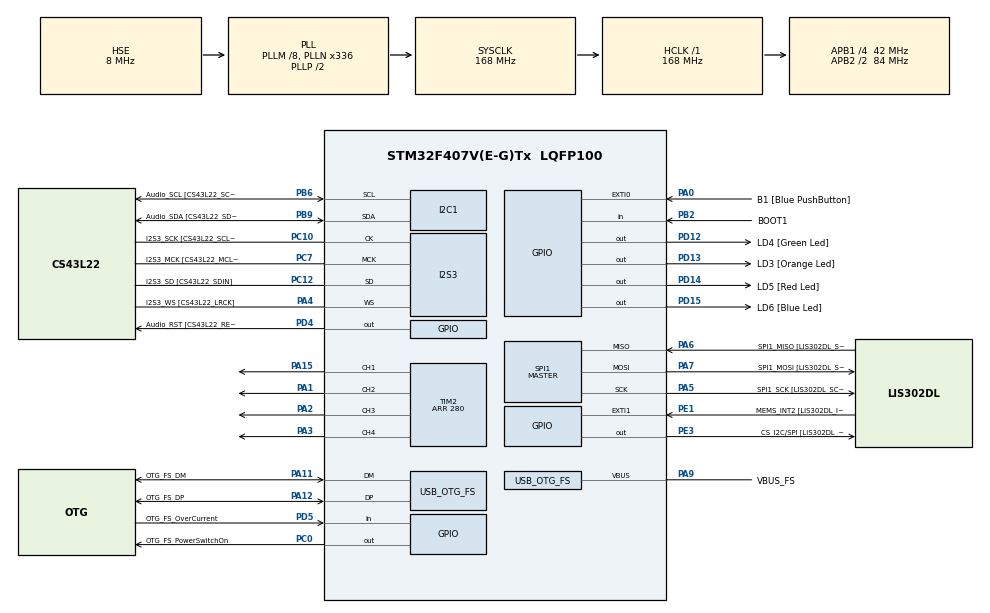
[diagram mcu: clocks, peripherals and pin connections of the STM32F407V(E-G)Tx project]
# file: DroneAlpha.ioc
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Dma.Request0=TIM2_CH1
Dma.TIM2_CH1.0.Direction=DMA_MEMORY_TO_PERIPH
Dma.TIM2_CH1.0.FIFOMode=DMA_FIFOMODE_DISABLE
Dma.TIM2_CH1.0.Instance=DMA1_Stream5
Dma.TIM2_CH1.0.MemDataAlignment=DMA_MDATAALIGN_HALFWORD
Dma.TIM2_CH1.0.MemInc=DMA_MINC_ENABLE
Dma.TIM2_CH1.0.Mode=DMA_NORMAL
Dma.TIM2_CH1.0.PeriphDataAlignment=DMA_PDATAALIGN_HALFWORD
Dma.TIM2_CH1.0.PeriphInc=DMA_PINC_DISABLE
Dma.TIM2_CH1.0.Priority=DMA_PRIORITY_HIGH
FREERTOS.Tasks01=mainTask,-2,128,StartDefaultTask,Default,NULL,Dynamic,NULL,NULL;flightControlTa,1,128,StartTask02,Default,NULL,Dynamic,NULL,NULL;sensorTask,0,128,StartTask03,Default,NULL,Dynamic,NULL,NULL
FREERTOS.configUSE_NEWLIB_REENTRANT=1
I2S3.AudioFreq-Half_Duplex_Master=I2S_AUDIOFREQ_96K
I2S3.ErrorAudioFreq=-2.34 %
I2S3.ErrorAudioFreq-Half_Duplex_Master=0.8 %
I2S3.FullDuplexMode=I2S_FULLDUPLEXMODE_DISABLE
I2S3.Instance=SPI$Index
I2S3.RealAudioFreq=93.75 KHz
I2S3.RealAudioFreq-Half_Duplex_Master=96.774 KHz
I2S3.VirtualMode=I2S_MODE_MASTER
Mcu.Family=STM32F4
Mcu.Name=STM32F407V(E-G)Tx
Mcu.Package=LQFP100
NVIC.DMA1_Stream5_IRQn=true\:5\:0\:false\:true\:true\:2\:true\:false\:true\:true
NVIC.OTG_FS_IRQn=true\:5\:0\:false\:true\:true\:1\:true\:true\:true\:true
NVIC.PriorityGroup=NVIC_PRIORITYGROUP_4
NVIC.TIM1_UP_TIM10_IRQn=true\:15\:0\:false\:false\:true\:false\:false\:true\:true
NVIC.TimeBase=TIM1_UP_TIM10_IRQn
NVIC.TimeBaseIP=TIM1
PA0-WKUP.GPIO_Label=B1 [Blue PushButton]
PA0-WKUP.GPIO_ModeDefaultEXTI=GPIO_MODE_EVT_RISING
PA0-WKUP.GPIO_PuPd=GPIO_NOPULL
PA0-WKUP.Signal=GPXTI0
PA1.Signal=S_TIM2_CH2
PA10.GPIO_Label=OTG_FS_ID
PA10.GPIO_Mode=GPIO_MODE_AF_PP
PA10.GPIO_PuPd=GPIO_NOPULL
PA10.GPIO_Speed=GPIO_SPEED_FREQ_LOW
PA10.Signal=USB_OTG_FS_ID
PA11.GPIO_Label=OTG_FS_DM
PA11.GPIO_Mode=GPIO_MODE_AF_PP
PA11.GPIO_PuPd=GPIO_NOPULL
PA11.GPIO_Speed=GPIO_SPEED_FREQ_LOW
PA11.Mode=Host_Only
PA11.Signal=USB_OTG_FS_DM
PA12.GPIO_Label=OTG_FS_DP
PA12.GPIO_Mode=GPIO_MODE_AF_PP
PA12.GPIO_PuPd=GPIO_NOPULL
PA12.GPIO_Speed=GPIO_SPEED_FREQ_LOW
PA12.Mode=Host_Only
PA12.Signal=USB_OTG_FS_DP
PA13.GPIO_Label=SWDIO
PA13.Mode=Serial_Wire
PA13.Signal=SYS_JTMS-SWDIO
PA14.GPIO_Label=SWCLK
PA14.Mode=Serial_Wire
PA14.Signal=SYS_JTCK-SWCLK
PA15.Signal=S_TIM2_CH1_ETR
PA2.Signal=S_TIM2_CH3
PA3.Signal=S_TIM2_CH4
PA4.GPIO_Label=I2S3_WS [CS43L22_LRCK]
PA4.GPIO_Mode=GPIO_MODE_AF_PP
PA4.GPIO_PuPd=GPIO_NOPULL
PA4.GPIO_Speed=GPIO_SPEED_FREQ_LOW
PA4.Mode=Half_Duplex_Master
PA4.Signal=I2S3_WS
PA5.GPIO_Label=SPI1_SCK [LIS302DL_SCL/SPC]
PA5.GPIO_Mode=GPIO_MODE_AF_PP
PA5.GPIO_PuPd=GPIO_NOPULL
PA5.GPIO_Speed=GPIO_SPEED_FREQ_LOW
PA5.Mode=Full_Duplex_Master
PA5.Signal=SPI1_SCK
PA6.GPIO_Label=SPI1_MISO [LIS302DL_SDO]
PA6.GPIO_Mode=GPIO_MODE_AF_PP
PA6.GPIO_PuPd=GPIO_NOPULL
PA6.GPIO_Speed=GPIO_SPEED_FREQ_LOW
PA6.Mode=Full_Duplex_Master
PA6.Signal=SPI1_MISO
PA7.GPIO_Label=SPI1_MOSI [LIS302DL_SDA/SDI/SDO]
PA7.GPIO_Mode=GPIO_MODE_AF_PP
PA7.GPIO_PuPd=GPIO_NOPULL
PA7.GPIO_Speed=GPIO_SPEED_FREQ_LOW
PA7.Mode=Full_Duplex_Master
PA7.Signal=SPI1_MOSI
PA9.GPIO_Label=VBUS_FS
PA9.GPIO_Mode=GPIO_MODE_INPUT
PA9.GPIO_PuPd=GPIO_NOPULL
PA9.Mode=Activate_VBUS
PA9.Signal=USB_OTG_FS_VBUS
PB10.GPIO_Label=CLK_IN [MP45DT02_CLK]
PB10.GPIO_Mode=GPIO_MODE_AF_PP
PB10.GPIO_PuPd=GPIO_NOPULL
PB10.GPIO_Speed=GPIO_SPEED_FREQ_LOW
PB10.Signal=I2S2_CK
PB2.GPIO_Label=BOOT1
PB2.GPIO_Mode=GPIO_MODE_INPUT
PB2.GPIO_PuPd=GPIO_NOPULL
PB2.Signal=GPIO_Input
PB3.GPIO_Label=SWO
PB3.Signal=SYS_JTDO-SWO
PB6.GPIO_Label=Audio_SCL [CS43L22_SCL]
PB6.GPIO_Mode=GPIO_MODE_AF_OD
PB6.GPIO_Pu=GPIO_PULLUP
PB6.GPIO_PuPd=GPIO_NOPULL
PB6.GPIO_Speed=GPIO_SPEED_FREQ_LOW
PB6.Mode=I2C
PB6.Signal=I2C1_SCL
PB9.GPIO_Label=Audio_SDA [CS43L22_SDA]
PB9.GPIO_Mode=GPIO_MODE_AF_OD
PB9.GPIO_Pu=GPIO_PULLUP
PB9.GPIO_PuPd=GPIO_NOPULL
PB9.GPIO_Speed=GPIO_SPEED_FREQ_LOW
PB9.Mode=I2C
PB9.Signal=I2C1_SDA
PC0.GPIO_Label=OTG_FS_PowerSwitchOn
PC0.GPIO_PuPd=GPIO_NOPULL
PC0.GPIO_Speed=GPIO_SPEED_FREQ_LOW
PC0.PinState=GPIO_PIN_SET
PC0.Signal=GPIO_Output
PC10.GPIO_Label=I2S3_SCK [CS43L22_SCLK]
PC10.GPIO_Mode=GPIO_MODE_AF_PP
PC10.GPIO_PuPd=GPIO_NOPULL
PC10.GPIO_Speed=GPIO_SPEED_FREQ_LOW
PC10.Mode=Half_Duplex_Master
PC10.Signal=I2S3_CK
PC12.GPIO_Label=I2S3_SD [CS43L22_SDIN]
PC12.GPIO_Mode=GPIO_MODE_AF_PP
PC12.GPIO_PuPd=GPIO_NOPULL
PC12.GPIO_Speed=GPIO_SPEED_FREQ_LOW
PC12.Mode=Half_Duplex_Master
PC12.Signal=I2S3_SD
PC14-OSC32_IN.GPIO_Label=PC14-OSC32_IN
PC14-OSC32_IN.Mode=LSE-External-Oscillator
PC14-OSC32_IN.Signal=RCC_OSC32_IN
PC15-OSC32_OUT.GPIO_Label=PC15-OSC32_OUT
PC15-OSC32_OUT.Mode=LSE-External-Oscillator
PC15-OSC32_OUT.Signal=RCC_OSC32_OUT
PC3.GPIO_Label=PDM_OUT [MP45DT02_DOUT]
PC3.GPIO_Mode=GPIO_MODE_AF_PP
PC3.GPIO_PuPd=GPIO_NOPULL
PC3.GPIO_Speed=GPIO_SPEED_FREQ_LOW
PC3.Signal=I2S2_SD
PC7.GPIO_Label=I2S3_MCK [CS43L22_MCLK]
PC7.GPIO_Mode=GPIO_MODE_AF_PP
PC7.GPIO_PuPd=GPIO_NOPULL
PC7.GPIO_Speed=GPIO_SPEED_FREQ_LOW
PC7.Mode=Master_Clock_Activated
PC7.Signal=I2S3_MCK
PD12.GPIO_Label=LD4 [Green Led]
PD12.GPIO_PuPd=GPIO_NOPULL
PD12.GPIO_Speed=GPIO_SPEED_FREQ_LOW
PD12.Signal=GPIO_Output
PD13.GPIO_Label=LD3 [Orange Led]
PD13.GPIO_PuPd=GPIO_NOPULL
PD13.GPIO_Speed=GPIO_SPEED_FREQ_LOW
PD13.Signal=GPIO_Output
PD14.GPIO_Label=LD5 [Red Led]
PD14.GPIO_PuPd=GPIO_NOPULL
PD14.GPIO_Speed=GPIO_SPEED_FREQ_LOW
PD14.Signal=GPIO_Output
PD15.GPIO_Label=LD6 [Blue Led]
PD15.GPIO_PuPd=GPIO_NOPULL
PD15.GPIO_Speed=GPIO_SPEED_FREQ_LOW
PD15.Signal=GPIO_Output
PD4.GPIO_Label=Audio_RST [CS43L22_RESET]
PD4.GPIO_PuPd=GPIO_NOPULL
PD4.GPIO_Speed=GPIO_SPEED_FREQ_LOW
PD4.Signal=GPIO_Output
PD5.GPIO_Label=OTG_FS_OverCurrent
PD5.GPIO_Mode=GPIO_MODE_INPUT
PD5.GPIO_PuPd=GPIO_NOPULL
PD5.Signal=GPIO_Input
PE1.GPIO_Label=MEMS_INT2 [LIS302DL_INT2]
PE1.GPIO_ModeDefaultEXTI=GPIO_MODE_EVT_RISING
PE1.GPIO_PuPd=GPIO_NOPULL
PE1.Signal=GPXTI1
PE3.GPIO_Label=CS_I2C/SPI [LIS302DL_CS_I2C/SPI]
PE3.GPIO_PuPd=GPIO_NOPULL
PE3.GPIO_Speed=GPIO_SPEED_FREQ_LOW
PE3.Signal=GPIO_Output
PH0-OSC_IN.GPIO_Label=PH0-OSC_IN
PH0-OSC_IN.Mode=HSE-External-Oscillator
PH0-OSC_IN.Signal=RCC_OSC_IN
PH1-OSC_OUT.GPIO_Label=PH1-OSC_OUT
PH1-OSC_OUT.Mode=HSE-External-Oscillator
PH1-OSC_OUT.Signal=RCC_OSC_OUT
ProjectManager.HeapSize=0x200
ProjectManager.StackSize=0x400
ProjectManager.TargetToolchain=STM32CubeIDE
RCC.48MHZClocksFreq_Value=48000000
RCC.AHBFreq_Value=168000000
RCC.APB1CLKDivider=RCC_HCLK_DIV4
RCC.APB1Freq_Value=42000000
RCC.APB1TimFreq_Value=84000000
RCC.APB2CLKDivider=RCC_HCLK_DIV2
RCC.APB2Freq_Value=84000000
RCC.APB2TimFreq_Value=168000000
RCC.CortexFreq_Value=168000000
RCC.HCLKFreq_Value=168000000
RCC.HSE_VALUE=8000000
RCC.HSI_VALUE=16000000
RCC.PLLM=8
RCC.PLLN=336
RCC.PLLQ=7
RCC.SYSCLKFreq_VALUE=168000000
RCC.SYSCLKSource=RCC_SYSCLKSOURCE_PLLCLK
RCC.VCOOutputFreq_Value=336000000
SH.S_TIM2_CH1_ETR.0=TIM2_CH1,PWM Generation1 CH1
SH.S_TIM2_CH2.0=TIM2_CH2,PWM Generation2 CH2
SH.S_TIM2_CH3.0=TIM2_CH3,PWM Generation3 CH3
SH.S_TIM2_CH4.0=TIM2_CH4,PWM Generation4 CH4
SPI1.BaudRatePrescaler-Full_Duplex_Master=SPI_BAUDRATEPRESCALER_2
SPI1.CalculateBaudRate-Full_Duplex_Master=42.0 MBits/s
SPI1.Direction=SPI_DIRECTION_2LINES
SPI1.Mode=SPI_MODE_MASTER
SPI1.Mode-Full_Duplex_Master=SPI_MODE_MASTER
SPI1.VirtualType=VM_MASTER
TIM2.Channel-PWM\ Generation1\ CH1=TIM_CHANNEL_1
TIM2.Channel-PWM\ Generation2\ CH2=TIM_CHANNEL_2
TIM2.Channel-PWM\ Generation3\ CH3=TIM_CHANNEL_3
TIM2.Channel-PWM\ Generation4\ CH4=TIM_CHANNEL_4
TIM2.Period=280
TIM2.Pulse-PWM\ Generation1\ CH1=53
TIM2.Pulse-PWM\ Generation2\ CH2=2147483646
TIM2.Pulse-PWM\ Generation3\ CH3=2147483646
USB_HOST.BSP.number=1
USB_HOST.USBH_HandleTypeDef-CDC_FS=hUsbHostFS
USB_HOST.USBH_USE_OS-CDC_FS=0
USB_HOST.VirtualModeFS=Cdc
USB_HOST0.BSP.STBoard=false
USB_HOST0.BSP.api=Unknown
USB_HOST0.BSP.instance=PC0
USB_HOST0.BSP.ip=GPIO
USB_HOST0.BSP.mode=Output
USB_HOST0.BSP.name=Drive_VBUS_FS
USB_HOST0.BSP.solution=PC0
USB_OTG_FS.VirtualMode=Host_Only
USB_OTG_FS.phy_itface=HCD_PHY_EMBEDDED
VP_FREERTOS_VS_CMSIS_V1.Mode=CMSIS_V1
VP_SYS_VS_tim1.Mode=TIM1
VP_USB_HOST_VS_USB_HOST_CDC_FS.Mode=CDC_FS
board=STM32F407G-DISC1

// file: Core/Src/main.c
/* USER CODE BEGIN Header */
/**
  ******************************************************************************
  * @file           : main.c
  * @brief          : Main program body
  ******************************************************************************
  * @attention
  *
  * Copyright (c) 2025 STMicroelectronics.
  * All rights reserved.
  *
  * This software is licensed under terms that can be found in the LICENSE file
  * in the root directory of this software component.
  * If no LICENSE file comes with this software, it is provided AS-IS.
  *
  ******************************************************************************
  */
/* USER CODE END Header */
#include "main.h"
#include "cmsis_os.h"
#include "usb_host.h"
#include <stdbool.h>

/* USER CODE BEGIN PD */

#define TIMER_TICKS 280
#define HIGH_1 (TIMER_TICKS * 2 / 3) // 53
#define HIGH_0 (TIMER_TICKS * 1 / 3) // 26

/* USER CODE END PD */
bool buttonToggle = false;
static bool DMADone = true;

I2C_HandleTypeDef hi2c1;

I2S_HandleTypeDef hi2s3;

SPI_HandleTypeDef hspi1;

TIM_HandleTypeDef htim2;
DMA_HandleTypeDef hdma_tim2_ch1;

osThreadId mainTaskHandle;
osThreadId flightControlTaHandle;
osThreadId sensorTaskHandle;

void SystemClock_Config(void);
static void MX_GPIO_Init(void);
static void MX_DMA_Init(void);
static void MX_I2C1_Init(void);
static void MX_I2S3_Init(void);
static void MX_SPI1_Init(void);
static void MX_TIM2_Init(void);
void StartDefaultTask(void const * argument);
void StartTask02(void const * argument);
void StartTask03(void const * argument);

int main(void)
{

  /* MCU Configuration--------------------------------------------------------*/

  /* Reset of all peripherals, Initializes the Flash interface and the Systick. */
  HAL_Init();

  /* Configure the system clock */
  SystemClock_Config();

  /* Initialize all configured peripherals */
  MX_GPIO_Init();
  MX_DMA_Init();
  MX_I2C1_Init();
  MX_I2S3_Init();
  MX_SPI1_Init();
  MX_TIM2_Init();

  /* Create the thread(s) */
  /* definition and creation of mainTask */
  osThreadDef(mainTask, StartDefaultTask, osPriorityLow, 0, 128);
  mainTaskHandle = osThreadCreate(osThread(mainTask), NULL);

  /* definition and creation of flightControlTa */
  osThreadDef(flightControlTa, StartTask02, osPriorityAboveNormal, 0, 128);
  flightControlTaHandle = osThreadCreate(osThread(flightControlTa), NULL);

  /* definition and creation of sensorTask */
  osThreadDef(sensorTask, StartTask03, osPriorityNormal, 0, 128);
  sensorTaskHandle = osThreadCreate(osThread(sensorTask), NULL);

  /* Start scheduler */
  osKernelStart();

  /* We should never get here as control is now taken by the scheduler */

  /* Infinite loop */
  while (1)
  {

  }
}

void SystemClock_Config(void)
{
  RCC_OscInitTypeDef RCC_OscInitStruct = {0};
  RCC_ClkInitTypeDef RCC_ClkInitStruct = {0};

  /** Configure the main internal regulator output voltage
  */
  __HAL_RCC_PWR_CLK_ENABLE();
  __HAL_PWR_VOLTAGESCALING_CONFIG(PWR_REGULATOR_VOLTAGE_SCALE1);

  /** Initializes the RCC Oscillators according to the specified parameters
  * in the RCC_OscInitTypeDef structure.
  */
  RCC_OscInitStruct.OscillatorType = RCC_OSCILLATORTYPE_HSE;
  RCC_OscInitStruct.HSEState = RCC_HSE_ON;
  RCC_OscInitStruct.PLL.PLLState = RCC_PLL_ON;
  RCC_OscInitStruct.PLL.PLLSource = RCC_PLLSOURCE_HSE;
  RCC_OscInitStruct.PLL.PLLM = 8;
  RCC_OscInitStruct.PLL.PLLN = 336;
  RCC_OscInitStruct.PLL.PLLP = RCC_PLLP_DIV2;
  RCC_OscInitStruct.PLL.PLLQ = 7;
  if (HAL_RCC_OscConfig(&RCC_OscInitStruct) != HAL_OK)
  {
    Error_Handler();
  }

  /** Initializes the CPU, AHB and APB buses clocks
  */
  RCC_ClkInitStruct.ClockType = RCC_CLOCKTYPE_HCLK|RCC_CLOCKTYPE_SYSCLK
                              |RCC_CLOCKTYPE_PCLK1|RCC_CLOCKTYPE_PCLK2;
  RCC_ClkInitStruct.SYSCLKSource = RCC_SYSCLKSOURCE_PLLCLK;
  RCC_ClkInitStruct.AHBCLKDivider = RCC_SYSCLK_DIV1;
  RCC_ClkInitStruct.APB1CLKDivider = RCC_HCLK_DIV4;
  RCC_ClkInitStruct.APB2CLKDivider = RCC_HCLK_DIV2;

  if (HAL_RCC_ClockConfig(&RCC_ClkInitStruct, FLASH_LATENCY_5) != HAL_OK)
  {
    Error_Handler();
  }
}

static void MX_I2C1_Init(void)
{

  hi2c1.Instance = I2C1;
  hi2c1.Init.ClockSpeed = 100000;
  hi2c1.Init.DutyCycle = I2C_DUTYCYCLE_2;
  hi2c1.Init.OwnAddress1 = 0;
  hi2c1.Init.AddressingMode = I2C_ADDRESSINGMODE_7BIT;
  hi2c1.Init.DualAddressMode = I2C_DUALADDRESS_DISABLE;
  hi2c1.Init.OwnAddress2 = 0;
  hi2c1.Init.GeneralCallMode = I2C_GENERALCALL_DISABLE;
  hi2c1.Init.NoStretchMode = I2C_NOSTRETCH_DISABLE;
  if (HAL_I2C_Init(&hi2c1) != HAL_OK)
  {
    Error_Handler();
  }

}

static void MX_I2S3_Init(void)
{

  hi2s3.Instance = SPI3;
  hi2s3.Init.Mode = I2S_MODE_MASTER_TX;
  hi2s3.Init.Standard = I2S_STANDARD_PHILIPS;
  hi2s3.Init.DataFormat = I2S_DATAFORMAT_16B;
  hi2s3.Init.MCLKOutput = I2S_MCLKOUTPUT_ENABLE;
  hi2s3.Init.AudioFreq = I2S_AUDIOFREQ_96K;
  hi2s3.Init.CPOL = I2S_CPOL_LOW;
  hi2s3.Init.ClockSource = I2S_CLOCK_PLL;
  hi2s3.Init.FullDuplexMode = I2S_FULLDUPLEXMODE_DISABLE;
  if (HAL_I2S_Init(&hi2s3) != HAL_OK)
  {
    Error_Handler();
  }

}

static void MX_SPI1_Init(void)
{

  /* SPI1 parameter configuration*/
  hspi1.Instance = SPI1;
  hspi1.Init.Mode = SPI_MODE_MASTER;
  hspi1.Init.Direction = SPI_DIRECTION_2LINES;
  hspi1.Init.DataSize = SPI_DATASIZE_8BIT;
  hspi1.Init.CLKPolarity = SPI_POLARITY_LOW;
  hspi1.Init.CLKPhase = SPI_PHASE_1EDGE;
  hspi1.Init.NSS = SPI_NSS_SOFT;
  hspi1.Init.BaudRatePrescaler = SPI_BAUDRATEPRESCALER_2;
  hspi1.Init.FirstBit = SPI_FIRSTBIT_MSB;
  hspi1.Init.TIMode = SPI_TIMODE_DISABLE;
  hspi1.Init.CRCCalculation = SPI_CRCCALCULATION_DISABLE;
  hspi1.Init.CRCPolynomial = 10;
  if (HAL_SPI_Init(&hspi1) != HAL_OK)
  {
    Error_Handler();
  }

}

static void MX_TIM2_Init(void)
{

  TIM_MasterConfigTypeDef sMasterConfig = {0};
  TIM_OC_InitTypeDef sConfigOC = {0};

  htim2.Instance = TIM2;
  htim2.Init.Prescaler = 0;
  htim2.Init.CounterMode = TIM_COUNTERMODE_UP;
  htim2.Init.Period = 280;
  htim2.Init.ClockDivision = TIM_CLOCKDIVISION_DIV1;
  htim2.Init.AutoReloadPreload = TIM_AUTORELOAD_PRELOAD_DISABLE;
  if (HAL_TIM_PWM_Init(&htim2) != HAL_OK)
  {
    Error_Handler();
  }
  sMasterConfig.MasterOutputTrigger = TIM_TRGO_RESET;
  sMasterConfig.MasterSlaveMode = TIM_MASTERSLAVEMODE_DISABLE;
  if (HAL_TIMEx_MasterConfigSynchronization(&htim2, &sMasterConfig) != HAL_OK)
  {
    Error_Handler();
  }
  sConfigOC.OCMode = TIM_OCMODE_PWM1;
  sConfigOC.Pulse = 53;
  sConfigOC.OCPolarity = TIM_OCPOLARITY_HIGH;
  sConfigOC.OCFastMode = TIM_OCFAST_DISABLE;
  if (HAL_TIM_PWM_ConfigChannel(&htim2, &sConfigOC, TIM_CHANNEL_1) != HAL_OK)
  {
    Error_Handler();
  }
  sConfigOC.Pulse = 2147483646;
  if (HAL_TIM_PWM_ConfigChannel(&htim2, &sConfigOC, TIM_CHANNEL_2) != HAL_OK)
  {
    Error_Handler();
  }
  if (HAL_TIM_PWM_ConfigChannel(&htim2, &sConfigOC, TIM_CHANNEL_3) != HAL_OK)
  {
    Error_Handler();
  }
  sConfigOC.Pulse = 0;
  if (HAL_TIM_PWM_ConfigChannel(&htim2, &sConfigOC, TIM_CHANNEL_4) != HAL_OK)
  {
    Error_Handler();
  }
  HAL_TIM_MspPostInit(&htim2);

}

static void MX_DMA_Init(void)
{

  /* DMA controller clock enable */
  __HAL_RCC_DMA1_CLK_ENABLE();

  /* DMA interrupt init */
  /* DMA1_Stream5_IRQn interrupt configuration */
  HAL_NVIC_SetPriority(DMA1_Stream5_IRQn, 5, 0);
  HAL_NVIC_EnableIRQ(DMA1_Stream5_IRQn);

}

static void MX_GPIO_Init(void)
{
  GPIO_InitTypeDef GPIO_InitStruct = {0};

  /* GPIO Ports Clock Enable */
  __HAL_RCC_GPIOE_CLK_ENABLE();
  __HAL_RCC_GPIOC_CLK_ENABLE();
  __HAL_RCC_GPIOH_CLK_ENABLE();
  __HAL_RCC_GPIOA_CLK_ENABLE();
  __HAL_RCC_GPIOB_CLK_ENABLE();
  __HAL_RCC_GPIOD_CLK_ENABLE();

  /*Configure GPIO pin Output Level */
  HAL_GPIO_WritePin(CS_I2C_SPI_GPIO_Port, CS_I2C_SPI_Pin, GPIO_PIN_RESET);

  /*Configure GPIO pin Output Level */
  HAL_GPIO_WritePin(OTG_FS_PowerSwitchOn_GPIO_Port, OTG_FS_PowerSwitchOn_Pin, GPIO_PIN_SET);

  /*Configure GPIO pin Output Level */
  HAL_GPIO_WritePin(GPIOD, LD4_Pin|LD3_Pin|LD5_Pin|LD6_Pin
                          |Audio_RST_Pin, GPIO_PIN_RESET);

  /*Configure GPIO pin : CS_I2C_SPI_Pin */
  GPIO_InitStruct.Pin = CS_I2C_SPI_Pin;
  GPIO_InitStruct.Mode = GPIO_MODE_OUTPUT_PP;
  GPIO_InitStruct.Pull = GPIO_NOPULL;
  GPIO_InitStruct.Speed = GPIO_SPEED_FREQ_LOW;
  HAL_GPIO_Init(CS_I2C_SPI_GPIO_Port, &GPIO_InitStruct);

  /*Configure GPIO pin : OTG_FS_PowerSwitchOn_Pin */
  GPIO_InitStruct.Pin = OTG_FS_PowerSwitchOn_Pin;
  GPIO_InitStruct.Mode = GPIO_MODE_OUTPUT_PP;
  GPIO_InitStruct.Pull = GPIO_NOPULL;
  GPIO_InitStruct.Speed = GPIO_SPEED_FREQ_LOW;
  HAL_GPIO_Init(OTG_FS_PowerSwitchOn_GPIO_Port, &GPIO_InitStruct);

  /*Configure GPIO pin : PDM_OUT_Pin */
  GPIO_InitStruct.Pin = PDM_OUT_Pin;
  GPIO_InitStruct.Mode = GPIO_MODE_AF_PP;
  GPIO_InitStruct.Pull = GPIO_NOPULL;
  GPIO_InitStruct.Speed = GPIO_SPEED_FREQ_LOW;
  GPIO_InitStruct.Alternate = GPIO_AF5_SPI2;
  HAL_GPIO_Init(PDM_OUT_GPIO_Port, &GPIO_InitStruct);

  /*Configure GPIO pin : B1_Pin */
  GPIO_InitStruct.Pin = B1_Pin;
  GPIO_InitStruct.Mode = GPIO_MODE_EVT_RISING;
  GPIO_InitStruct.Pull = GPIO_NOPULL;
  HAL_GPIO_Init(B1_GPIO_Port, &GPIO_InitStruct);

  /*Configure GPIO pin : BOOT1_Pin */
  GPIO_InitStruct.Pin = BOOT1_Pin;
  GPIO_InitStruct.Mode = GPIO_MODE_INPUT;
  GPIO_InitStruct.Pull = GPIO_NOPULL;
  HAL_GPIO_Init(BOOT1_GPIO_Port, &GPIO_InitStruct);

  /*Configure GPIO pin : CLK_IN_Pin */
  GPIO_InitStruct.Pin = CLK_IN_Pin;
  GPIO_InitStruct.Mode = GPIO_MODE_AF_PP;
  GPIO_InitStruct.Pull = GPIO_NOPULL;
  GPIO_InitStruct.Speed = GPIO_SPEED_FREQ_LOW;
  GPIO_InitStruct.Alternate = GPIO_AF5_SPI2;
  HAL_GPIO_Init(CLK_IN_GPIO_Port, &GPIO_InitStruct);

  /*Configure GPIO pins : LD4_Pin LD3_Pin LD5_Pin LD6_Pin
                           Audio_RST_Pin */
  GPIO_InitStruct.Pin = LD4_Pin|LD3_Pin|LD5_Pin|LD6_Pin
                          |Audio_RST_Pin;
  GPIO_InitStruct.Mode = GPIO_MODE_OUTPUT_PP;
  GPIO_InitStruct.Pull = GPIO_NOPULL;
  GPIO_InitStruct.Speed = GPIO_SPEED_FREQ_LOW;
  HAL_GPIO_Init(GPIOD, &GPIO_InitStruct);

  /*Configure GPIO pin : OTG_FS_OverCurrent_Pin */
  GPIO_InitStruct.Pin = OTG_FS_OverCurrent_Pin;
  GPIO_InitStruct.Mode = GPIO_MODE_INPUT;
  GPIO_InitStruct.Pull = GPIO_NOPULL;
  HAL_GPIO_Init(OTG_FS_OverCurrent_GPIO_Port, &GPIO_InitStruct);

  /*Configure GPIO pin : MEMS_INT2_Pin */
  GPIO_InitStruct.Pin = MEMS_INT2_Pin;
  GPIO_InitStruct.Mode = GPIO_MODE_EVT_RISING;
  GPIO_InitStruct.Pull = GPIO_NOPULL;
  HAL_GPIO_Init(MEMS_INT2_GPIO_Port, &GPIO_InitStruct);

}

/* USER CODE BEGIN 4 */

void HAL_TIM_PWM_PulseFinishedCallback(TIM_HandleTypeDef *htim)
{
	if (htim->Instance == TIM2 && htim->Channel == HAL_TIM_ACTIVE_CHANNEL_1)
	{
		DMADone = true;
	}
}

/* USER CODE END 4 */

void StartDefaultTask(void const * argument)
{
  /* init code for USB_HOST */
  MX_USB_HOST_Init();
  /* USER CODE BEGIN 5 */
  /* Infinite loop */
  for(;;)
  {
	  GPIO_PinState buttonState = HAL_GPIO_ReadPin(GPIOA, GPIO_PIN_0);

	  if(buttonState == GPIO_PIN_SET)
	  {
		  buttonToggle = !buttonToggle;
		    osDelay(10);
	  }

    osDelay(50);
  }
  /* USER CODE END 5 */
}

void StartTask02(void const * argument)
{
  /* USER CODE BEGIN StartTask02 */

	/*
	 * This task will be mainly for the flight controls
	 */

		osDelay(5000);

		uint16_t dshot_dma_buffer[16];
		uint16_t packet;

		BuildDShotPacket(1000, &packet);

		for(int i = 0; i < 16; i++)
		{
			if(packet & (1 << (15 - i)))
			{
				dshot_dma_buffer[i] = HIGH_1;
			}
			else {
				dshot_dma_buffer[i] = HIGH_0;
				 }
		}
		uint16_t counter = 0;
		while(1)
		{
			if(DMADone == true)
			{
				HAL_TIM_PWM_Start_DMA(&htim2, TIM_CHANNEL_1, (uint32_t *) dshot_dma_buffer, 16);
				DMADone = false;
				counter = 0;
			}
			counter++;
		}

		uint16_t throttle = 400;
		osDelay(2000);
		HAL_TIM_PWM_Stop_DMA(&htim2, TIM_CHANNEL_1);
//	    while (1)
//	    {
//
//
//	    	throttle = buttonToggle ? 1000 : 400;
//
//	    	if(throttle == 1000)
//	    	{
//	    		HAL_GPIO_WritePin(GPIOD, LD5_Pin, GPIO_PIN_SET);
//	    	}
//	    	else
//	    	{
//	    		HAL_GPIO_WritePin(GPIOD, LD5_Pin, GPIO_PIN_RESET);
//	    	}
//	    	osDelay(1000);
//			BuildDShotPacket(throttle, &packet);
//
//			for(int i = 0; i < 16; i++)
//			{
//				if(packet & (1 << (15 - i)))
//				{
//					dshot_dma_buffer[i] = HIGH_1;
//				}
//				else {
//					dshot_dma_buffer[i] = HIGH_0;
//				}
//			}
//			HAL_TIM_PWM_Start_DMA(&htim2, TIM_CHANNEL_1, (uint32_t *) dshot_dma_buffer, 16);
//
//	    }

  /* Infinite loop */
  for(;;)
  {
    osDelay(1);
  }
  /* USER CODE END StartTask02 */
}

void StartTask03(void const * argument)
{
  for(;;)
  {
    osDelay(1);
  }
}

void HAL_TIM_PeriodElapsedCallback(TIM_HandleTypeDef *htim)
{
  if (htim->Instance == TIM1) {
    HAL_IncTick();
  }
}

void Error_Handler(void)
{
  __disable_irq();
  while (1)
  {
  }
}
